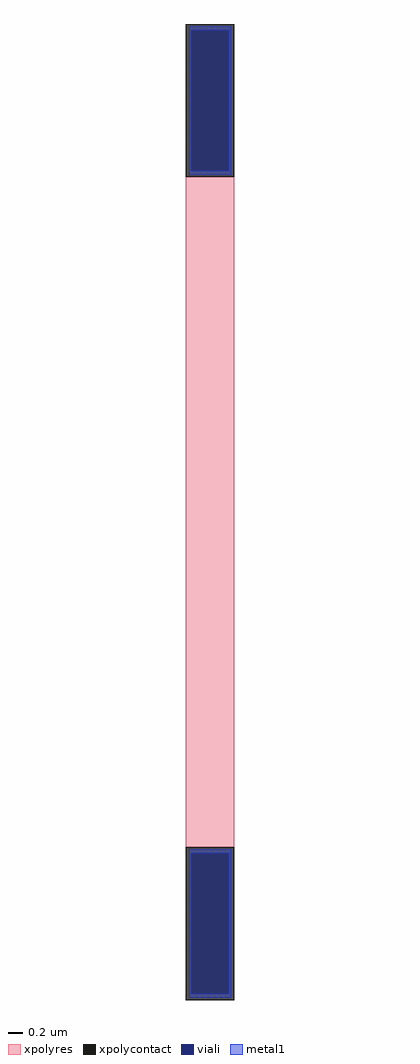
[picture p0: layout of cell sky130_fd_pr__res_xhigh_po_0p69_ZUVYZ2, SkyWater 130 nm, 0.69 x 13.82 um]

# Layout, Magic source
magic
tech sky130A
magscale 1 2
<< xpolycontact >>
rect -69 950 69 1382
rect -69 -1382 69 -950
<< xpolyres >>
rect -69 -950 69 950
<< viali >>
rect -53 967 53 1364
rect -53 -1364 53 -967
<< metal1 >>
rect -59 1364 59 1376
rect -59 967 -53 1364
rect 53 967 59 1364
rect -59 955 59 967
rect -59 -967 59 -955
rect -59 -1364 -53 -967
rect 53 -1364 59 -967
rect -59 -1376 59 -1364
<< properties >>
string gencell sky130_fd_pr__res_xhigh_po_0p69
string library sky130
string parameters w 0.690 l 9.66 m 1 nx 1 wmin 0.690 lmin 0.50 rho 2000 val 28.545k dummy 0 dw 0.0 term 188.2 sterm 0.0 caplen 0 wmax 0.690 guard 0 glc 0 grc 0 gtc 0 gbc 0 compatible {sky130_fd_pr__res_xhigh_po_0p35  sky130_fd_pr__res_xhigh_po_0p69 sky130_fd_pr__res_xhigh_po_1p41  sky130_fd_pr__res_xhigh_po_2p85 sky130_fd_pr__res_xhigh_po_5p73} snake 0 full_metal 0 n_guard 0 hv_guard 0 vias 1 viagb 0 viagt 0 viagl 0 viagr 0
string sky130_fd_pr__res_xhigh_po_0p69_ZUVYZ2 parameters
<< end >>
